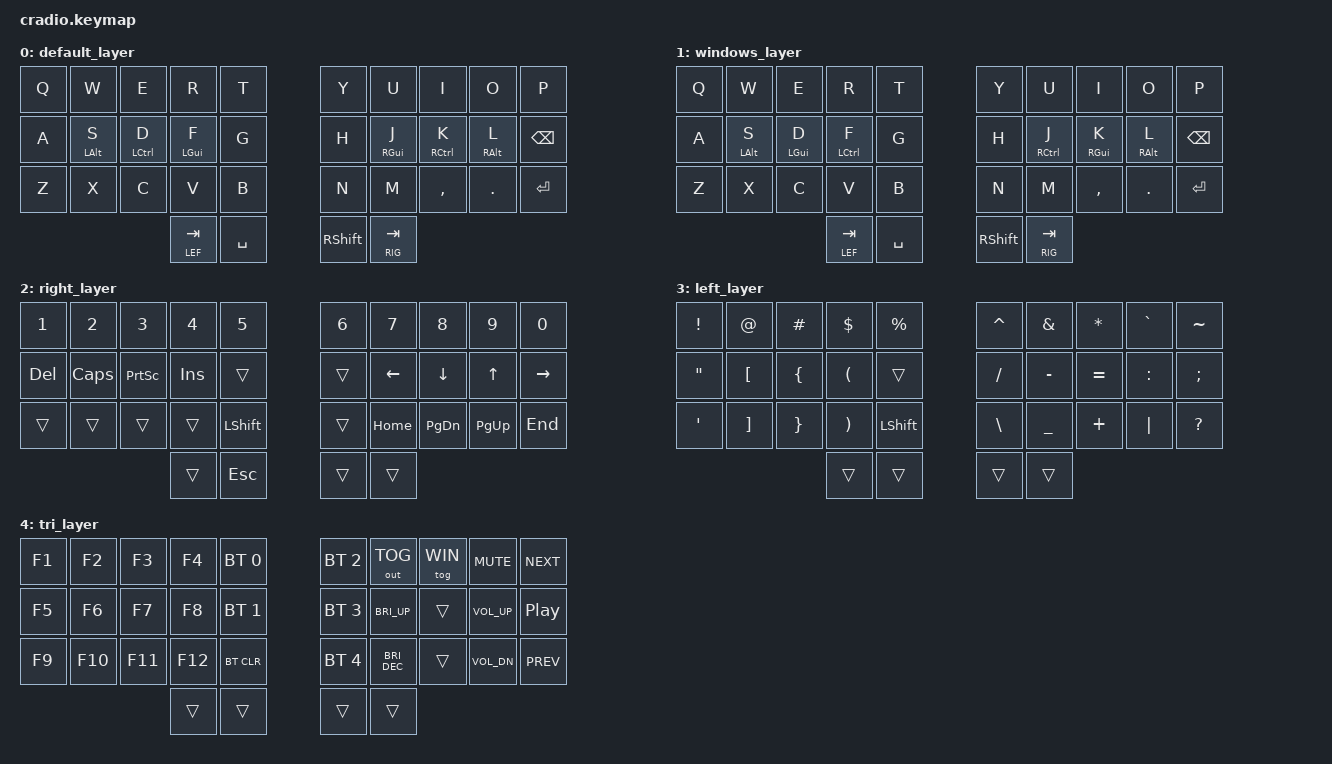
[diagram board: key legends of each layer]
// Copyright (c) 2022 The ZMK Contributors
// SPDX-License-Identifier: MIT

#include <behaviors.dtsi>
#include <dt-bindings/zmk/bt.h>
#include <dt-bindings/zmk/keys.h>
#include <dt-bindings/zmk/outputs.h>

#define MAC 0
#define WIN 1
#define RIG 2
#define LEF 3
#define TRI 4

/ {
    behaviors {
        ht: hold_tap {
            label = "hold_tap";
            compatible = "zmk,behavior-hold-tap";
            #binding-cells = <2>;
            flavor = "tap-preferred";
            tapping-term-ms = <220>;
            quick-tap-ms = <150>;
            global-quick-tap;
            bindings = <&kp>, <&kp>;
        };
    };

    conditional_layers {
        compatible = "zmk,conditional-layers";

        tri_layer {
            if-layers = <RIG LEF>;
            then-layer = <TRI>;
        };
    };

    keymap {
        compatible = "zmk,keymap";

        default_layer {
            bindings = <
&kp Q  &kp W       &kp E        &kp R        &kp T        &kp Y       &kp U        &kp I        &kp O       &kp P
&kp A  &ht LALT S  &ht LCTRL D  &ht LGUI F   &kp G        &kp H       &ht RGUI J   &ht RCTRL K  &ht RALT L  &kp BSPC
&kp Z  &kp X       &kp C        &kp V        &kp B        &kp N       &kp M        &kp COMMA    &kp DOT     &kp ENTER
                                &lt LEF TAB  &kp SPACE    &kp RSHIFT  &lt RIG TAB
            >;
        };

        windows_layer {
            bindings = <
&kp Q  &kp W       &kp E       &kp R        &kp T        &kp Y            &kp U        &kp I       &kp O       &kp P
&kp A  &ht LALT S  &ht LGUI D  &ht LCTRL F  &kp G        &kp H            &ht RCTRL J  &ht RGUI K  &ht RALT L  &kp BSPC
&kp Z  &kp X       &kp C       &kp V        &kp B        &kp N            &kp M        &kp COMMA   &kp DOT     &kp ENTER
                               &lt LEF TAB  &kp SPACE    &kp RIGHT_SHIFT  &lt RIG TAB
            >;
        };

        right_layer {
            bindings = <
&kp N1   &kp N2    &kp N3     &kp N4   &kp N5            &kp N6  &kp N7    &kp N8     &kp N9     &kp N0
&kp DEL  &kp CAPS  &kp PSCRN  &kp INS  &trans            &trans  &kp LEFT  &kp DOWN   &kp UP     &kp RIGHT
&trans   &trans    &trans     &trans   &kp LEFT_SHIFT    &trans  &kp HOME  &kp PG_DN  &kp PG_UP  &kp END
                              &trans   &kp ESC           &trans  &trans
            >;
        };

        left_layer {
            bindings = <
&kp EXCL  &kp AT    &kp HASH  &kp DLLR  &kp PRCNT         &kp CARET  &kp AMPS   &kp ASTRK  &kp GRAVE  &kp TILDE
&kp DQT   &kp LBKT  &kp LBRC  &kp LPAR  &trans            &kp FSLH   &kp MINUS  &kp EQUAL  &kp COLON  &kp SEMI
&kp SQT   &kp RBKT  &kp RBRC  &kp RPAR  &kp LEFT_SHIFT    &kp BSLH   &kp UNDER  &kp PLUS   &kp PIPE   &kp QMARK
                              &trans    &trans            &trans     &trans
            >;
        };

        tri_layer {
            bindings = <
&kp F1  &kp F2   &kp F3   &kp F4   &bt BT_SEL 0    &bt BT_SEL 2  &out OUT_TOG   &tog WIN  &kp C_MUTE    &kp C_NEXT
&kp F5  &kp F6   &kp F7   &kp F8   &bt BT_SEL 1    &bt BT_SEL 3  &kp C_BRI_UP   &trans    &kp C_VOL_UP  &kp C_PP
&kp F9  &kp F10  &kp F11  &kp F12  &bt BT_CLR      &bt BT_SEL 4  &kp C_BRI_DEC  &trans    &kp C_VOL_DN  &kp C_PREV
                          &trans   &trans          &trans        &trans
            >;
        };
    };
};
